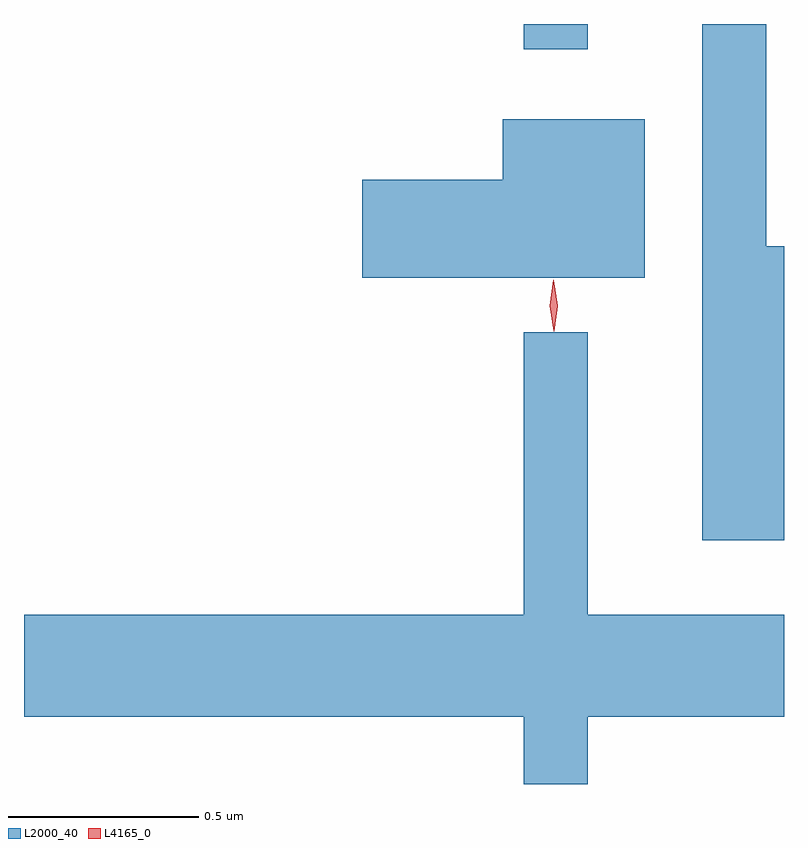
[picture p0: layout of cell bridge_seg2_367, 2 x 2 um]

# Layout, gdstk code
import gdstk
lib = gdstk.Library(unit=1e-6, precision=1e-09)
def R(c, l, rs):  # rectangles x0, y0, x1, y1
    for r in rs: c.add(gdstk.rectangle(r[:2], r[2:], *l))
def P(c, l, *ps):  # polygons
    for p in ps: c.add(gdstk.Polygon(p, *l))
L2000_40 = (2000, 40)
L4165_0 = (4165, 0)

bridge_seg2_367 = lib.new_cell('bridge_seg2_367')
R(bridge_seg2_367, L2000_40, [(312.291,1010.113,312.459,1010.179)])
P(bridge_seg2_367, L2000_40, [(312.976,1009.594),(312.929,1009.594),(312.929,1010.179),(312.761,1010.179),(312.761,1008.821),(312.976,1008.821)],
  [(312.609,1009.929),(312.236,1009.929),(312.236,1009.769),(311.866,1009.769),(311.866,1009.511),(312.609,1009.511)],
  [(312.459,1008.356),(312.976,1008.356),(312.976,1008.624),(312.459,1008.624),(312.459,1009.368),(312.291,1009.368),(312.291,1008.624),(310.976,1008.624),(310.976,1008.356),(312.291,1008.356),(312.291,1008.179),(312.459,1008.179)])
P(bridge_seg2_367, L4165_0, [(312.37,1009.37),(312.37,1009.37),(312.36,1009.438),(312.369,1009.505),(312.37,1009.506),(312.37,1009.505),(312.38,1009.438),(312.371,1009.37)],
  [(312.37,1009.373),(312.37,1009.373),(312.36,1009.436),(312.369,1009.499),(312.369,1009.5),(312.37,1009.499),(312.38,1009.436),(312.371,1009.373)])

lib.write_gds('bridge_seg2_367.gds')
